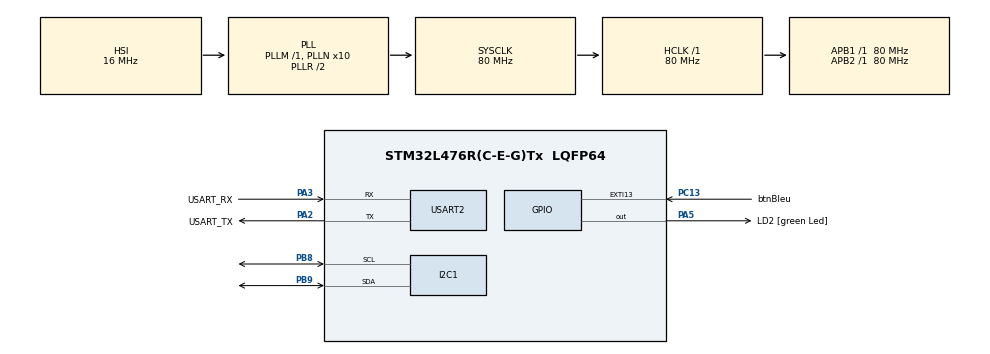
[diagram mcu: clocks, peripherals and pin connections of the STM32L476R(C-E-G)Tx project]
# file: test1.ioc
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I2C1.Timing=0x10909CEC
Mcu.Family=STM32L4
Mcu.Name=STM32L476R(C-E-G)Tx
Mcu.Package=LQFP64
NVIC.PriorityGroup=NVIC_PRIORITYGROUP_4
NVIC.TIM2_IRQn=true\:0\:0\:false\:false\:true\:true\:true\:true
PA13\ (JTMS-SWDIO).GPIO_Label=TMS
PA13\ (JTMS-SWDIO).Mode=Serial_Wire
PA13\ (JTMS-SWDIO).Signal=SYS_JTMS-SWDIO
PA14\ (JTCK-SWCLK).GPIO_Label=TCK
PA14\ (JTCK-SWCLK).Mode=Serial_Wire
PA14\ (JTCK-SWCLK).Signal=SYS_JTCK-SWCLK
PA2.GPIO_Label=USART_TX
PA2.GPIO_Mode=GPIO_MODE_AF_PP
PA2.GPIO_PuPd=GPIO_NOPULL
PA2.GPIO_Speed=GPIO_SPEED_FREQ_VERY_HIGH
PA2.Mode=Asynchronous
PA2.Signal=USART2_TX
PA3.GPIO_Label=USART_RX
PA3.GPIO_Mode=GPIO_MODE_AF_PP
PA3.GPIO_PuPd=GPIO_NOPULL
PA3.GPIO_Speed=GPIO_SPEED_FREQ_VERY_HIGH
PA3.Mode=Asynchronous
PA3.Signal=USART2_RX
PA5.GPIO_Label=LD2 [green Led]
PA5.GPIO_ModeDefaultOutputPP=GPIO_MODE_OUTPUT_PP
PA5.GPIO_PuPd=GPIO_NOPULL
PA5.GPIO_Speed=GPIO_SPEED_FREQ_LOW
PA5.Signal=GPIO_Output
PB3\ (JTDO-TRACESWO).GPIO_Label=SWO
PB3\ (JTDO-TRACESWO).Signal=SYS_JTDO-SWO
PB8.Mode=I2C
PB8.Signal=I2C1_SCL
PB9.Mode=I2C
PB9.Signal=I2C1_SDA
PC13.GPIO_Label=btnBleu
PC13.GPIO_ModeDefaultEXTI=GPIO_MODE_IT_FALLING
PC13.GPIO_PuPd=GPIO_NOPULL
PC13.Signal=GPXTI13
PC14-OSC32_IN\ (PC14).Mode=LSE-External-Oscillator
PC14-OSC32_IN\ (PC14).Signal=RCC_OSC32_IN
PC15-OSC32_OUT\ (PC15).Mode=LSE-External-Oscillator
PC15-OSC32_OUT\ (PC15).Signal=RCC_OSC32_OUT
PH0-OSC_IN\ (PH0).Signal=RCC_OSC_IN
PH1-OSC_OUT\ (PH1).Signal=RCC_OSC_OUT
ProjectManager.HeapSize=0x200
ProjectManager.StackSize=0x400
ProjectManager.TargetToolchain=STM32CubeIDE
RCC.ADCFreq_Value=64000000
RCC.AHBFreq_Value=80000000
RCC.APB1Freq_Value=80000000
RCC.APB1TimFreq_Value=80000000
RCC.APB2Freq_Value=80000000
RCC.APB2TimFreq_Value=80000000
RCC.CortexFreq_Value=80000000
RCC.HCLKFreq_Value=80000000
RCC.HSE_VALUE=8000000
RCC.HSI_VALUE=16000000
RCC.MSI_VALUE=4000000
RCC.PLLN=10
RCC.PLLSourceVirtual=RCC_PLLSOURCE_HSI
RCC.PREFETCH_ENABLE=1
RCC.SYSCLKFreq_VALUE=80000000
RCC.SYSCLKSource=RCC_SYSCLKSOURCE_PLLCLK
RCC.USBFreq_Value=64000000
RCC.VCOOutputFreq_Value=160000000
TIM2.Period=9999
TIM2.Prescaler=7999
TIM2.TIM_MasterOutputTrigger=TIM_TRGO_RESET
USART2.VirtualMode-Asynchronous=VM_ASYNC
VP_TIM2_VS_ClockSourceINT.Mode=Internal
board=NUCLEO-L476RG

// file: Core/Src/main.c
/* USER CODE BEGIN Header */
/**
 ******************************************************************************
 * @file           : main.c
 * @brief          : Main program body
 ******************************************************************************
 * @attention
 *
 * Copyright (c) 2023 STMicroelectronics.
 * All rights reserved.
 *
 * This software is licensed under terms that can be found in the LICENSE file
 * in the root directory of this software component.
 * If no LICENSE file comes with this software, it is provided AS-IS.
 *
 ******************************************************************************
 */
/* USER CODE END Header */
#include "main.h"
#include "i2c.h"
#include "tim.h"
#include "usart.h"
#include "gpio.h"

/* USER CODE BEGIN Includes */
#include "u8g2.h"
#include "u8x8_stm32_HAL.h"
#include <stdio.h>
#include <stdlib.h>
#include <stdbool.h>
/* USER CODE END Includes */

/* USER CODE BEGIN PTD */
typedef struct {
	uint8_t x;
	uint8_t y;
	unsigned char *motif;
} Icone_t;

typedef enum {
	NOIR, BLANC
} Couleur_t;
/* USER CODE END PTD */

/* USER CODE BEGIN PM */
#define NB_OCTETS_PAR_LIGNE 2
#define NB_LIGNE 			5
/* USER CODE END PM */

/* USER CODE BEGIN PV */
unsigned char image1[NB_OCTETS_PAR_LIGNE * NB_LIGNE] = {
		0x81, 0x42,
		0x24, 0x18,
		0xFF, 0xAA,
		0x55, 0x11
};
/* USER CODE END PV */

void SystemClock_Config(void);

int main(void) {
	/* USER CODE BEGIN 1 */
	u8g2_t u8g2;
	uint8_t *buf; // the pointer to a dynamically allocated page buffer
	Icone_t icone;
	/* USER CODE END 1 */

	/* MCU Configuration--------------------------------------------------------*/

	/* Reset of all peripherals, Initializes the Flash interface and the Systick. */
	HAL_Init();

	/* Configure the system clock */
	SystemClock_Config();

	/* Initialize all configured peripherals */
	MX_GPIO_Init();
	MX_USART2_UART_Init();
	MX_I2C1_Init();
	MX_TIM2_Init();
	/* USER CODE BEGIN 2 */

	printf("Boot\r\n");

	// Configuration de l'afficheur OLED
	// cf : https://github.com/olikraus/u8g2/wiki/u8g2setupc#ssd1306-128x64_noname
	// si appel u8g2_Setup_ssd1306_i2c_128x64_noname_1 => 128 octets de framebuffer (il faut passer par les pages (fonctions u8g2_FirstPage et u8g2_NextPage))
	// si appel u8g2_Setup_ssd1306_i2c_128x64_noname_2 => 256 octets de framebuffer (il faut passer par les pages (fonctions u8g2_FirstPage et u8g2_NextPage))
	// si appel u8g2_Setup_ssd1306_i2c_128x64_noname_f => 1024 octets de framebuffer (Full Buffer Mode)
	u8g2_Setup_ssd1306_i2c_128x64_noname_f(&u8g2, U8G2_R2, u8x8_byte_hw_i2c,
			u8x8_stm32_gpio_and_delay_cb); // init u8g2 structure

	printf("taille buffer : %d\r\n", u8g2_GetBufferSize(&u8g2));
	buf = (uint8_t*) malloc(u8g2_GetBufferSize(&u8g2)); // dynamically allocate a buffer of the required size
	u8g2_SetBufferPtr(&u8g2, buf); // set the internal page buffer pointer to the newly allocated page buffer

	u8g2_InitDisplay(&u8g2); // send init sequence to the display, display is in sleep mode after this,
	u8g2_SetPowerSave(&u8g2, 0); // wake up display
	u8g2_ClearBuffer(&u8g2);

	u8g2_SetDrawColor(&u8g2, BLANC);

	u8g2_SetFont(&u8g2, u8g2_font_courB10_tr);
	u8g2_SetFontRefHeightExtendedText(&u8g2);
	u8g2_SetFontPosTop(&u8g2);
	u8g2_SetFontDirection(&u8g2, 0);

	u8g2_DrawStr(&u8g2, 20, 50, "RAN IE3 ESE");

	u8g2_DrawBox(&u8g2, 60, 30, 10, 20);

	u8g2_DrawPixel(&u8g2, 40, 40);

	icone.x = 30;
	icone.y = 10;
	icone.motif = image1;
	u8g2_DrawBitmap(&u8g2, icone.x, icone.y, NB_OCTETS_PAR_LIGNE, NB_LIGNE,
			icone.motif);

	u8g2_SendBuffer(&u8g2);  // IMPORTANT
	/* USER CODE END 2 */

	/* Infinite loop */
	while (1) {

	}
}

void SystemClock_Config(void) {
	RCC_OscInitTypeDef RCC_OscInitStruct = { 0 };
	RCC_ClkInitTypeDef RCC_ClkInitStruct = { 0 };

	/** Configure the main internal regulator output voltage
	 */
	if (HAL_PWREx_ControlVoltageScaling(PWR_REGULATOR_VOLTAGE_SCALE1)
			!= HAL_OK) {
		Error_Handler();
	}

	/** Initializes the RCC Oscillators according to the specified parameters
	 * in the RCC_OscInitTypeDef structure.
	 */
	RCC_OscInitStruct.OscillatorType = RCC_OSCILLATORTYPE_HSI;
	RCC_OscInitStruct.HSIState = RCC_HSI_ON;
	RCC_OscInitStruct.HSICalibrationValue = RCC_HSICALIBRATION_DEFAULT;
	RCC_OscInitStruct.PLL.PLLState = RCC_PLL_ON;
	RCC_OscInitStruct.PLL.PLLSource = RCC_PLLSOURCE_HSI;
	RCC_OscInitStruct.PLL.PLLM = 1;
	RCC_OscInitStruct.PLL.PLLN = 10;
	RCC_OscInitStruct.PLL.PLLP = RCC_PLLP_DIV7;
	RCC_OscInitStruct.PLL.PLLQ = RCC_PLLQ_DIV2;
	RCC_OscInitStruct.PLL.PLLR = RCC_PLLR_DIV2;
	if (HAL_RCC_OscConfig(&RCC_OscInitStruct) != HAL_OK) {
		Error_Handler();
	}

	/** Initializes the CPU, AHB and APB buses clocks
	 */
	RCC_ClkInitStruct.ClockType = RCC_CLOCKTYPE_HCLK | RCC_CLOCKTYPE_SYSCLK
			| RCC_CLOCKTYPE_PCLK1 | RCC_CLOCKTYPE_PCLK2;
	RCC_ClkInitStruct.SYSCLKSource = RCC_SYSCLKSOURCE_PLLCLK;
	RCC_ClkInitStruct.AHBCLKDivider = RCC_SYSCLK_DIV1;
	RCC_ClkInitStruct.APB1CLKDivider = RCC_HCLK_DIV1;
	RCC_ClkInitStruct.APB2CLKDivider = RCC_HCLK_DIV1;

	if (HAL_RCC_ClockConfig(&RCC_ClkInitStruct, FLASH_LATENCY_4) != HAL_OK) {
		Error_Handler();
	}
}

void Error_Handler(void) {
	__disable_irq();
	while (1) {
	}
}
